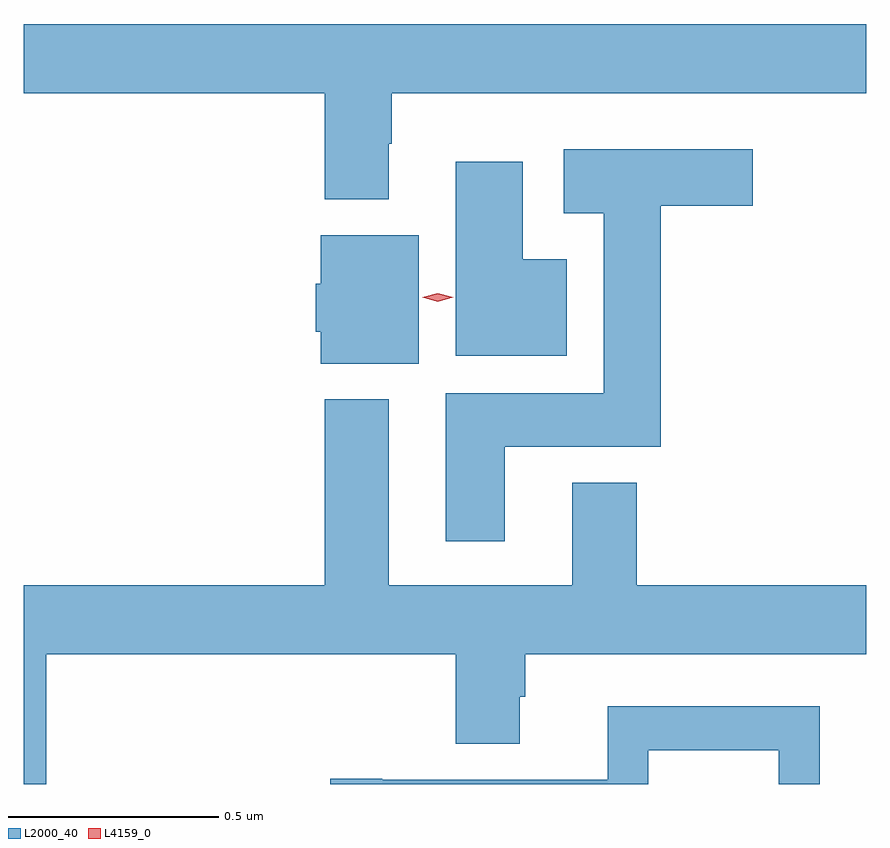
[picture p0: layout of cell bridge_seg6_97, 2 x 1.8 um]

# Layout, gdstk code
import gdstk
lib = gdstk.Library(unit=1e-6, precision=1e-09)
def P(c, l, *ps):  # polygons
    for p in ps: c.add(gdstk.Polygon(p, *l))
L2000_40 = (2000, 40)
L4159_0 = (4159, 0)

bridge_seg6_97 = lib.new_cell('bridge_seg6_97')
P(bridge_seg6_97, L2000_40, [(789.781,925.904),(789.789,925.904),(789.789,926.024),(790.915,926.024),(790.915,926.188),(788.915,926.188),(788.915,926.024),(789.629,926.024),(789.629,925.772),(789.781,925.772)],
  [(790.057,925.184),(790.427,925.184),(790.427,925.757),(790.645,925.757),(790.645,925.891),(790.197,925.891),(790.197,925.739),(790.292,925.739),(790.292,925.312),(789.917,925.312),(789.917,924.96),(790.057,924.96)],
  [(790.204,925.63),(790.099,925.63),(790.099,925.861),(789.941,925.861),(789.941,925.4),(790.204,925.4)],
  [(789.853,925.687),(789.62,925.687),(789.62,925.572),(789.608,925.572),(789.608,925.458),(789.62,925.458),(789.62,925.382),(789.853,925.382)],
  [(788.969,924.692),(789.941,924.692),(789.941,924.479),(790.093,924.479),(790.093,924.591),(790.106,924.591),(790.106,924.692),(790.915,924.692),(790.915,924.856),(790.37,924.856),(790.37,925.099),(790.217,925.099),(790.217,924.856),(789.781,924.856),(789.781,925.297),(789.629,925.297),(789.629,924.856),(788.915,924.856),(788.915,924.384),(788.969,924.384)],
  [(790.398,924.464),(790.707,924.464),(790.707,924.384),(790.804,924.384),(790.804,924.568),(790.301,924.568),(790.301,924.394),(789.766,924.394),(789.766,924.397),(789.643,924.397),(789.643,924.384),(790.398,924.384)])
P(bridge_seg6_97, L4159_0, [(789.898,925.529),(789.861,925.539),(789.86,925.539),(789.861,925.539),(789.898,925.549),(789.935,925.539),(789.935,925.539),(789.935,925.539)])

lib.write_gds('bridge_seg6_97.gds')
